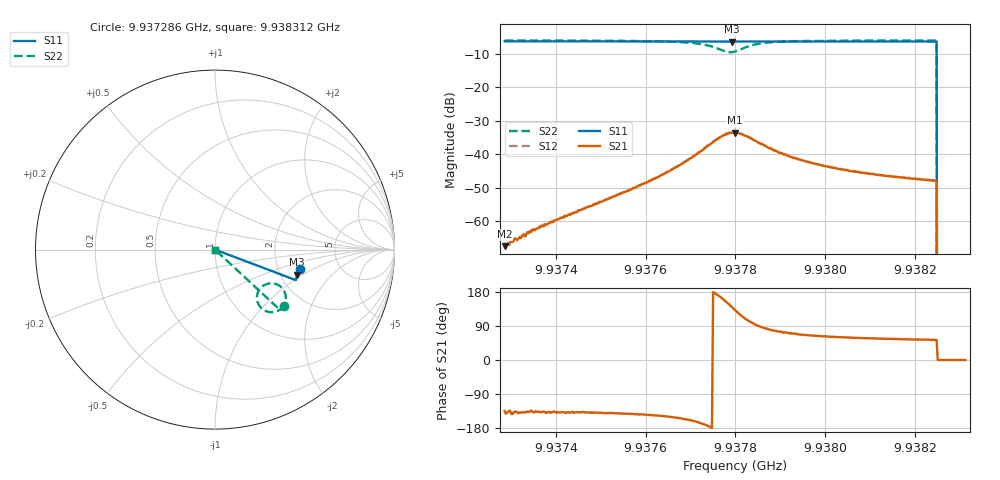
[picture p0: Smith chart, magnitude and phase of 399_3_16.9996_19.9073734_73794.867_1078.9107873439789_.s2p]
#  HZ  S  RI  R  50.00
! Rohde & Schwarz Vector Network Analyzer
! Rohde-Schwarz,ZNB20-2Port,1311601062101988,3.16
! Created: UTC 3/20/2024, 11:09:59 PM
! freq[Hz]  re:S11  im:S11  re:S21  im:S21  re:S12  im:S12  re:S22  im:S22
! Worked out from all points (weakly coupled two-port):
!   401 points, 9.937286 GHz to 9.938312 GHz, reference 50 ohm
!   highest |S21| = -33.56 dB at 9.937799 GHz (marker M1); lowest = -67.5 dB at 9.937286 GHz (marker M2)
!   lowest |S11| = -6.4 dB at 9.937791 GHz (marker M3), VSWR 2.84, Z = 123 - j44.6 ohm
!   |S11| at or under -10 dB: 9.938248 GHz to end of sweep
!   |S22| runs from - to -6.1 dB; largest |S21 - S12| = 0.00093
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9.9372856e9  0.4716 -0.1075  -0.000298 -0.000302  -0.000346 -0.000294  0.3851 -0.3157
9.9372958e9  0.4712 -0.1081  -0.000315 -0.000334  -0.000348 -0.00027  0.3843 -0.3165
9.9373061e9  0.4712 -0.1088  -0.000386 -0.000354  -0.000391 -0.000331  0.3835 -0.3172
9.9373266e9  0.4705 -0.1102  -0.000459 -0.000429  -0.000461 -0.000416  0.3819 -0.3184
9.9373472e9  0.4702 -0.1116  -0.000537 -0.000514  -0.00054 -0.000483  0.3804 -0.3202
9.9374576e9  0.468 -0.119  -0.0011 -0.000992  -0.00114 -0.000999  0.3699 -0.3288
9.9375705e9  0.4653 -0.1265  -0.00242 -0.00187  -0.00247 -0.00183  0.353 -0.3394
9.9376296e9  0.4639 -0.1305  -0.00387 -0.00254  -0.004 -0.00252  0.3376 -0.3456
9.937686e9  0.4623 -0.1344  -0.0069 -0.00313  -0.00708 -0.00306  0.3105 -0.3487
9.9377323e9  0.4605 -0.1372  -0.0121 -0.00201  -0.0124 -0.00182  0.2683 -0.3343
9.9377682e9  0.459 -0.139  -0.0176 0.00474  -0.0177 0.00539  0.2339 -0.2737
9.9377913e9  0.4583 -0.1394  -0.016 0.0133  -0.0159 0.0139  0.258 -0.2104
9.937799e9  0.4583 -0.1396  -0.014 0.0157  -0.0136 0.0163  0.278 -0.1962
9.9378221e9  0.4586 -0.1407  -0.00607 0.0179  -0.00582 0.0182  0.3411 -0.1922
9.9378555e9  0.4588 -0.1431  0.000531 0.0144  0.000677 0.0145  0.3854 -0.2303
9.9379017e9  0.4578 -0.1465  0.00266 0.0101  0.00312 0.00996  0.3951 -0.2706
9.937971e9  0.4563 -0.1515  0.00315 0.00664  0.00335 0.00667  0.3893 -0.2999
9.9380557e9  0.4542 -0.1571  0.00285 0.00481  0.00302 0.00482  0.3803 -0.3175
9.938143e9  0.4518 -0.1627  0.00264 0.0039  0.00273 0.00387  0.3727 -0.3284
9.9382431e9  0.4491 -0.1692  0.00239 0.00323  0.00252 0.00324  0.3648 -0.3377
9.938256e9  0 0  0 0  0 0  0 0
9.9383124e9  0 0  0 0  0 0  0 0
